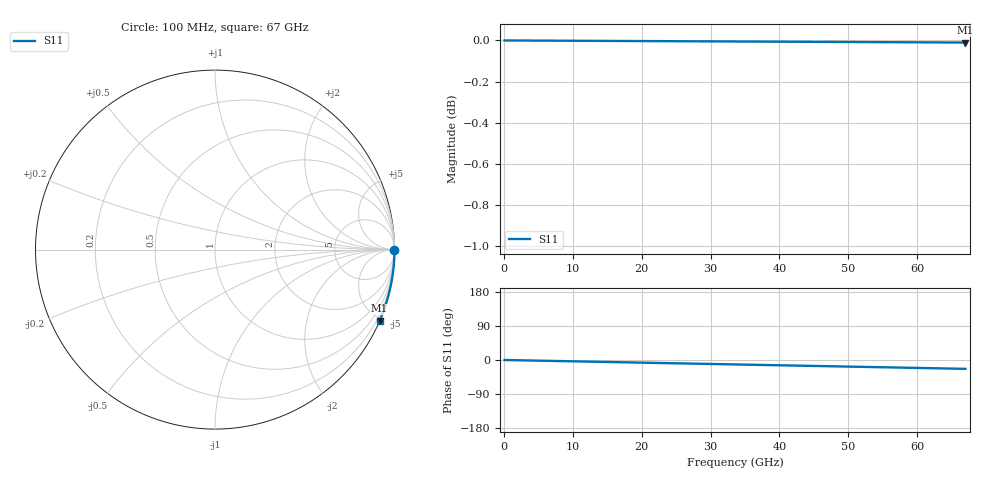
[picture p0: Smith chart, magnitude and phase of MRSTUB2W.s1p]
! Touchstone Ver. 1.0
! Number of ports is 1
# Hz  S RI  R  50
! SCATTERING PARAMETERS  :
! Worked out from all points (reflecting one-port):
!   101 points, 100 MHz to 67 GHz, reference 50 ohm
!   lowest |S11| = 0.0 dB at 67 GHz (marker M1)
!   phase of S11 starts at -0 deg and turns -23 deg over the sweep
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1e8  1 -0.000608
2.107e9  0.9999 -0.0128
4.114e9  0.9996 -0.025
6.121e9  0.9992 -0.0372
8.797e9  0.9984 -0.0535
1.0804e10  0.9977 -0.0657
1.2811e10  0.9967 -0.0778
1.4818e10  0.9957 -0.09
1.6825e10  0.9945 -0.1021
1.8832e10  0.9931 -0.1143
2.0839e10  0.9916 -0.1264
2.2846e10  0.99 -0.1385
2.5522e10  0.9875 -0.1546
2.7529e10  0.9855 -0.1666
2.9536e10  0.9834 -0.1786
3.1543e10  0.9811 -0.1906
3.355e10  0.9787 -0.2025
3.5557e10  0.9761 -0.2145
3.7564e10  0.9734 -0.2264
3.9571e10  0.9705 -0.2382
4.2247e10  0.9665 -0.254
4.6261e10  0.9599 -0.2775
5.0275e10  0.9528 -0.3008
5.4289e10  0.9451 -0.3239
5.6296e10  0.941 -0.3354
5.8972e10  0.9354 -0.3507
6.2986e10  0.9265 -0.3734
6.7e10  0.9171 -0.3958
